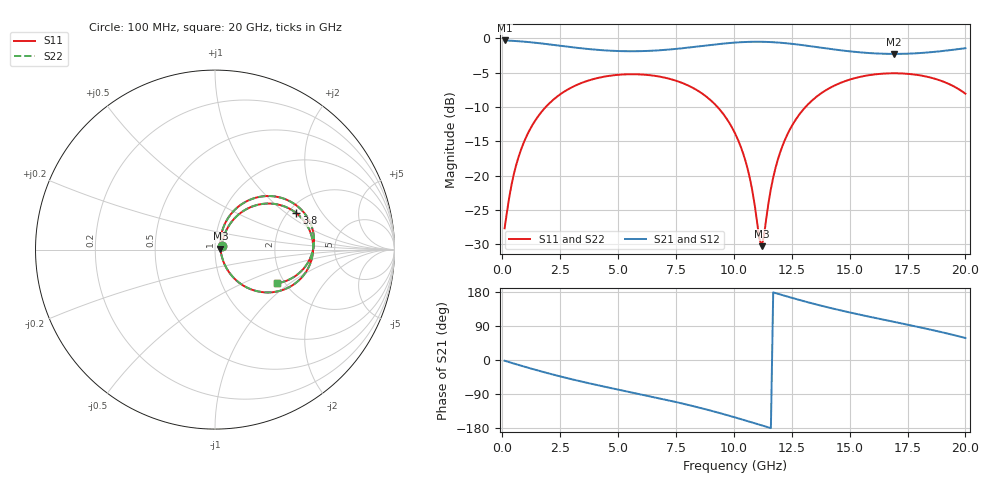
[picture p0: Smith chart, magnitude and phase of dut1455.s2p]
! Touchstone file exported from HFSS 2026.1.0
!  File:  C:/ffzhzh/LocalFiles/Ansys_Project_Files/temp_train_TSV_RDL_1455_1783359443_37376.aedt
!  Generated:  01:50:45 AM Jul  7, 2026
!  Design:  TSV_RDL
!  Project:  temp_train_TSV_RDL_1455_1783359443_37376
! Variables:
!  h_bsmrdl = 4.43um
!  h_ox = 20um
!  h_rdl = 5um
!  h_sub = 69.25um
!  h_tmrdl = 2.92um
!  h_tsv = 69.25um
!  h_via = 3um
!  l_bsmrdl = 236.75um
!  l_sub = 5174.83um
!  l_tmrdl = 986.85um
!  m_sub = 200um
!  pitch = 39.93um
!  r_tsv = 7.35um
!  s_tmrdl = 10um
!  w_bsmrdl = 24.92um
!  w_sub = 500um
!  w_tmrdl = 14.14um
!  x_tsv_center1 = 993.92um
!  x_tsv_center2 = 1255.59um
!  x_tsv_center3 = 2256.58um
!  x_tsv_center4 = 2518.25um
!  x_tsv_center5 = 3519.24um
!  x_tsv_center6 = 3780.91um
# GHz S MA R 50.000000
! Terminal data exported
! Port[1] = TM_RDL1_1_T1
! Port[2] = TM_RDL5_1_T1
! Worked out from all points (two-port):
!   200 points, 100 MHz to 20 GHz, reference 50 ohm
!   highest |S21| = -0.32 dB at 100 MHz (marker M1); lowest = -2.3 dB at 16.9 GHz (marker M2)
!   |S21| within 3 dB of the highest: start of sweep to end of sweep
!   lowest |S11| = -30.3 dB at 11.2 GHz (marker M3), VSWR 1.06, Z = 53.1 + j0.455 ohm
!   |S11| at or under -10 dB: start of sweep to 1.88 GHz; 9.291 GHz to 13.1 GHz (3.807 GHz wide, 34 % of centre)
!   |S22| runs from -30.1 to -5.1 dB; largest |S21 - S12| = 1.6e-14
!   S11 on the Smith chart (normalised r, x): 100 MHz: 1.08, +0.04; 3.8 GHz: 2.22, +1.19; 20 GHz: 1.83, -0.81
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0.1  0.04138 26.8  0.9635 -1.9  0.9635 -1.9  0.04138 26.8
! Gamma 0 0 0 0
! Port Impedance 50 0 50 0
0.6  0.1195 59.4  0.9539 -11.2  0.9539 -11.2  0.1195 59.4
1.2  0.2177 57.3  0.9357 -21.9  0.9357 -21.9  0.2177 57.3
2.2  0.3566 45.1  0.8947 -38.6  0.8947 -38.6  0.3566 45.1
3.5  0.4781 27.9  0.8418 -58.0  0.8418 -58.0  0.4781 27.9
3.8  0.4969 24.1  0.832 -62.2  0.832 -62.2  0.4969 24.1
5.3  0.5459 5.6  0.8047 -81.9  0.8047 -81.9  0.5459 5.6
6.8  0.5254 -12.7  0.8174 -101.4  0.8174 -101.4  0.5253 -12.7
8.8  0.3773 -39.3  0.8852 -130.3  0.8852 -130.3  0.3773 -39.2
10.1  0.1952 -56.2  0.9311 -152.3  0.9311 -152.3  0.1952 -56.0
10.7  0.09432 -56.8  0.9417 -163.2  0.9417 -163.2  0.0944 -56.5
11.1  0.03494 -21.6  0.943 -170.6  0.943 -170.6  0.03529 -21.2
11.2  0.03066 8.0  0.9426 -172.4  0.9426 -172.4  0.03109 8.1
11.6  0.08009 65.8  0.9376 -179.8  0.9376 -179.8  0.08031 65.5
12  0.1477 69.2  0.9281 173.0  0.9281 173.0  0.1479 69.1
12.6  0.2447 63.8  0.9068 162.4  0.9068 162.4  0.2447 63.7
13.4  0.355 53.3  0.871 149.1  0.871 149.1  0.3551 53.2
14.8  0.487 34.7  0.8101 128.3  0.8101 128.3  0.487 34.7
16.7  0.5553 11.8  0.7696 103.4  0.7696 103.4  0.5553 11.9
16.9  0.556 9.5  0.7691 100.9  0.7691 100.9  0.556 9.5
18.4  0.522 -8.2  0.7884 81.4  0.7884 81.4  0.522 -8.2
20  0.395 -28.4  0.8461 58.1  0.8461 58.1  0.3951 -28.3
